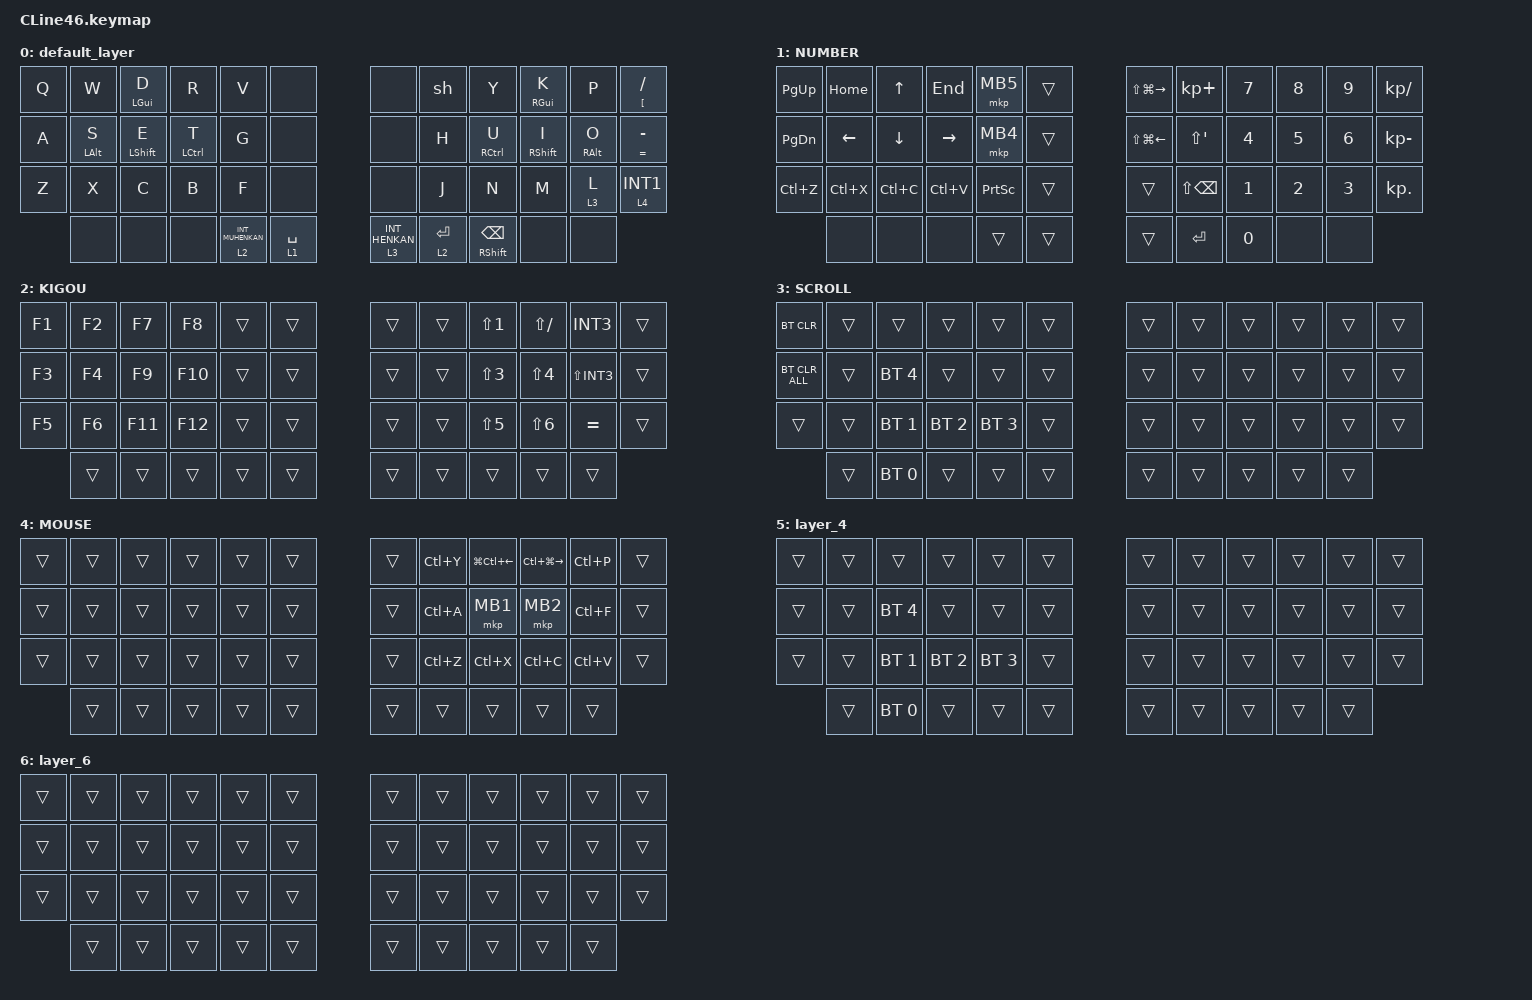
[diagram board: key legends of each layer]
#include <input/processors.dtsi>
#include <dt-bindings/zmk/input_transform.h>
#include <zephyr/dt-bindings/input/input-event-codes.h>
#include <behaviors.dtsi>
#include <dt-bindings/zmk/bt.h>
#include <dt-bindings/zmk/keys.h>
#include <dt-bindings/zmk/pointing.h>

&mt {
    flavor = "balanced";
    quick-tap-ms = <0>;
};

/ {
    combos {
        compatible = "zmk,combos";

        shift_tab {
            bindings = <&kp GRAVE>;
            key-positions = <0 1>;
        };

        esc {
            bindings = <&kp ESCAPE>;
            key-positions = <1 2>;
        };

        backspace {
            bindings = <&kp BACKSPACE>;
            key-positions = <13 14>;
        };

        backtab {
            bindings = <&kp LS(TAB)>;
            key-positions = <25 26>;
        };

        return {
            bindings = <&kp ENTER>;
            key-positions = <2 3>;
        };

        del {
            bindings = <&kp DELETE>;
            key-positions = <14 15>;
        };

        tab {
            bindings = <&kp TAB>;
            key-positions = <26 27>;
        };

        Lkakko {
            bindings = <&kp LS(N8)>;
            key-positions = <13 15>;
        };

        Lkagikakko {
            bindings = <&kp RBKT>;
            key-positions = <12 15>;
        };

        dublequort {
            bindings = <&kp LS(NUMBER_2)>;
            key-positions = <9 10>;
        };

        dot {
            bindings = <&kp DOT>;
            key-positions = <21 22>;
        };

        quort {
            bindings = <&kp LS(N7)>;
            key-positions = <33 34>;
        };

        semicolon {
            bindings = <&kp SEMI>;
            key-positions = <8 9>;
        };

        comma {
            bindings = <&kp COMMA>;
            key-positions = <20 21>;
        };

        apos {
            bindings = <&kp APOS>;
            key-positions = <32 33>;
        };

        rkakko {
            bindings = <&kp LS(N9)>;
            key-positions = <20 22>;
        };

        migikagikakko {
            bindings = <&kp BACKSLASH>;
            key-positions = <20 23>;
        };

        mb1 {
            bindings = <&mkp MB1>;
            key-positions = <20 32>;
        };

        mb2 {
            bindings = <&mkp MB2>;
            key-positions = <21 33>;
        };
    };

    macros {
        to_layer_0: to_layer_0 {
            compatible = "zmk,behavior-macro-one-param";
            #binding-cells = <1>;
            bindings = <&to 0 &macro_param_1to1 &kp MACRO_PLACEHOLDER>;
            label = "TO_LAYER_0";
        };

        sh: sh {
            compatible = "zmk,behavior-macro";
            #binding-cells = <0>;
            bindings = <&kp S &kp H>;
            label = "SH";
        };
    };

    behaviors {
        lt_to_layer_0: lt_to_layer_0 {
            compatible = "zmk,behavior-hold-tap";
            label = "LAYER_TAP_TO_0";
            bindings = <&mo>, <&to_layer_0>;

            #binding-cells = <2>;
            tapping-term-ms = <200>;
        };

        mt2: mod_tap2 {
            compatible = "zmk,behavior-hold-tap";
            bindings = <&kp>, <&kp>;

            #binding-cells = <2>;
            tapping-term-ms = <200>;
            quick-tap-ms = <200>;
            require-prior-idle-ms = <125>;
            flavor = "tap-preferred";
        };

        lt2: layer_tap2 {
            compatible = "zmk,behavior-hold-tap";
            bindings = <&mo>, <&kp>;

            #binding-cells = <2>;
            tapping-term-ms = <200>;
            quick-tap-ms = <200>;
            require-prior-idle-ms = <125>;
            flavor = "tap-preferred";
        };
    };

    keymap {
        compatible = "zmk,keymap";

        default_layer {
            bindings = <
&kp Q  &kp W            &mt2 LEFT_GUI D    &kp R                &kp V               &none                                       &none                &sh    &kp Y                 &mt2 RIGHT_GUI K  &kp P             &mt2 LBKT SLASH
&kp A  &mt2 LEFT_ALT S  &mt2 LEFT_SHIFT E  &mt2 LEFT_CONTROL T  &kp G               &none                                       &none                &kp H  &mt2 RIGHT_CONTROL U  &mt2 RSHFT I      &mt2 RIGHT_ALT O  &mt2 EQUAL MINUS
&kp Z  &kp X            &kp C              &kp B                &kp F               &none                                       &none                &kp J  &kp N                 &kp M             &lt2 3 L          &lt2 4 INT1
       &none            &none              &none                &lt 2 INT_MUHENKAN  &lt 1 SPACE  &lt 3 INT_HENKAN    &lt 2 RET  &mt RSHFT BACKSPACE                               &none             &none
            >;
        };

        NUMBER {
            bindings = <
&kp PAGE_UP    &kp HOME        &kp UP_ARROW  &kp END    &mkp MB5         &trans                     &kp LS(LG(RIGHT))  &kp KP_PLUS        &kp NUMBER_7  &kp NUMBER_8  &kp NUMBER_9  &kp KP_SLASH
&kp PAGE_DOWN  &kp LEFT_ARROW  &kp DOWN      &kp RIGHT  &mkp MB4         &trans                     &kp LS(LG(LEFT))   &kp LS(APOS)       &kp NUMBER_4  &kp NUMBER_5  &kp NUMBER_6  &kp KP_MINUS
&kp LC(Z)      &kp LC(X)       &kp LC(C)     &kp LC(V)  &kp PRINTSCREEN  &trans                     &trans             &kp LS(BACKSPACE)  &kp NUMBER_1  &kp NUMBER_2  &kp NUMBER_3  &kp KP_DOT
               &none           &none         &none      &trans           &trans  &trans    &kp RET  &kp NUMBER_0                                        &none         &none
            >;
        };

        KIGOU {
            bindings = <
&kp F1  &kp F2  &kp F7   &kp F8   &trans  &trans                    &trans  &trans  &kp LS(NUMBER_1)  &kp LS(SLASH)     &kp INT3      &trans
&kp F3  &kp F4  &kp F9   &kp F10  &trans  &trans                    &trans  &trans  &kp LS(NUMBER_3)  &kp LS(NUMBER_4)  &kp LS(INT3)  &trans
&kp F5  &kp F6  &kp F11  &kp F12  &trans  &trans                    &trans  &trans  &kp LS(N5)        &kp LS(NUMBER_6)  &kp EQUAL     &trans
        &trans  &trans   &trans   &trans  &trans  &trans    &trans  &trans                            &trans            &trans
            >;
        };

        SCROLL {
            bindings = <
&bt BT_CLR      &trans  &trans        &trans        &trans        &trans                    &trans  &trans  &trans  &trans  &trans  &trans
&bt BT_CLR_ALL  &trans  &bt BT_SEL 4  &trans        &trans        &trans                    &trans  &trans  &trans  &trans  &trans  &trans
&trans          &trans  &bt BT_SEL 1  &bt BT_SEL 2  &bt BT_SEL 3  &trans                    &trans  &trans  &trans  &trans  &trans  &trans
                &trans  &bt BT_SEL 0  &trans        &trans        &trans  &trans    &trans  &trans                  &trans  &trans
            >;
        };

        MOUSE {
            bindings = <
&trans  &trans  &trans  &trans  &trans  &trans                    &trans  &kp LC(Y)  &kp LG(LC(LEFT))  &kp LC(LG(RIGHT))  &kp LC(P)  &trans
&trans  &trans  &trans  &trans  &trans  &trans                    &trans  &kp LC(A)  &mkp MB1          &mkp MB2           &kp LC(F)  &trans
&trans  &trans  &trans  &trans  &trans  &trans                    &trans  &kp LC(Z)  &kp LC(X)         &kp LC(C)          &kp LC(V)  &trans
        &trans  &trans  &trans  &trans  &trans  &trans    &trans  &trans                               &trans             &trans
            >;
        };

        layer_4 {
            bindings = <
&trans  &trans  &trans        &trans        &trans        &trans                    &trans  &trans  &trans  &trans  &trans  &trans
&trans  &trans  &bt BT_SEL 4  &trans        &trans        &trans                    &trans  &trans  &trans  &trans  &trans  &trans
&trans  &trans  &bt BT_SEL 1  &bt BT_SEL 2  &bt BT_SEL 3  &trans                    &trans  &trans  &trans  &trans  &trans  &trans
        &trans  &bt BT_SEL 0  &trans        &trans        &trans  &trans    &trans  &trans                  &trans  &trans
            >;
        };

        layer_6 {
            bindings = <
&trans  &trans  &trans  &trans  &trans  &trans                    &trans  &trans  &trans  &trans  &trans  &trans
&trans  &trans  &trans  &trans  &trans  &trans                    &trans  &trans  &trans  &trans  &trans  &trans
&trans  &trans  &trans  &trans  &trans  &trans                    &trans  &trans  &trans  &trans  &trans  &trans
        &trans  &trans  &trans  &trans  &trans  &trans    &trans  &trans                  &trans  &trans
            >;
        };
    };
};
